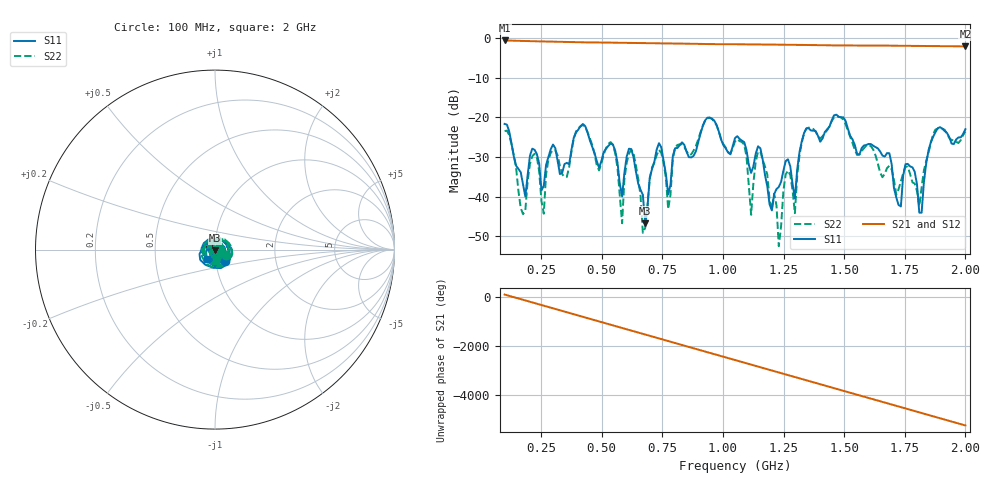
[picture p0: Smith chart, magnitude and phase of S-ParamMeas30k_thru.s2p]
!Keysight Technologies,N5242B,MY48420967,A.15.65.19
!Date: Saturday, December 17, 2022 18:14:16
!Correction: S11(C  2-Port  )
!S21(C  2-Port  )
!S12(C  2-Port  )
!S22(C  2-Port  )
!S2P File: Measurements: S11, S21, S12, S22:
# Hz S  dB  R 50
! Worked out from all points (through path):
!   201 points, 100 MHz to 2 GHz, reference 50 ohm
!   highest |S21| = -0.60 dB at 100 MHz (marker M1); lowest = -2.1 dB at 2 GHz (marker M2)
!   group delay of S21, straight-line fit = 7.76 ns
!   lowest |S11| = -46.7 dB at 679.5 MHz (marker M3), VSWR 1.01, Z = 50.1 - j0.445 ohm
!   |S11| at or under -10 dB: start of sweep to end of sweep
!   |S22| runs from -52.5 to -19.8 dB; largest |S21 - S12| = 0.00038
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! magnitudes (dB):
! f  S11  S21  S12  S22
! 100 MHz  -21.7  -0.6  -0.6  -23.5
! 261.5 MHz  -37.3  -0.9  -0.9  -44.3
! 290 MHz  -28.1  -0.9  -0.9  -29.0
! 423 MHz  -21.7  -1.1  -1.1  -21.9
! 546.5 MHz  -26.9  -1.2  -1.2  -26.9
! 584.5 MHz  -40.0  -1.2  -1.2  -46.7
! 622.5 MHz  -28.0  -1.2  -1.2  -28.2
! 679.5 MHz  -46.7  -1.3  -1.3  -47.9
! 736.5 MHz  -26.5  -1.3  -1.3  -28.2
! 774.5 MHz  -39.4  -1.3  -1.4  -43.1
! 812.5 MHz  -27.7  -1.4  -1.4  -27.0
! 1.05 GHz  -25.2  -1.6  -1.6  -26.1
! 1.117 GHz  -34.0  -1.6  -1.6  -44.6
! 1.155 GHz  -27.8  -1.6  -1.6  -28.6
! 1.23 GHz  -37.6  -1.7  -1.7  -52.5
! 1.259 GHz  -31.0  -1.7  -1.7  -34.4
! 1.297 GHz  -40.4  -1.7  -1.7  -44.2
! 1.373 GHz  -23.4  -1.8  -1.8  -22.9
! 1.687 GHz  -29.1  -1.9  -1.9  -32.2
! 1.819 GHz  -44.1  -2.0  -2.0  -37.7
! 1.877 GHz  -23.7  -2.0  -2.0  -23.1
! 2 GHz  -23.0  -2.1  -2.1  -23.6
